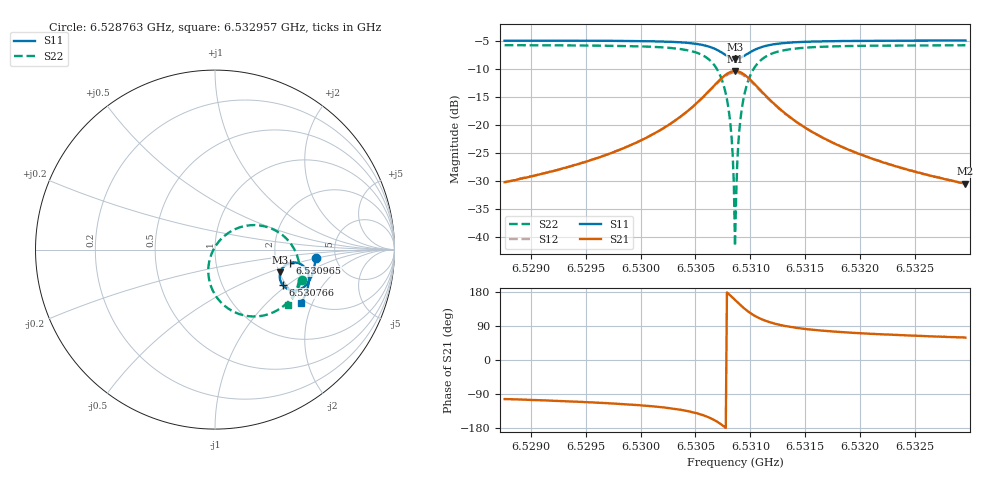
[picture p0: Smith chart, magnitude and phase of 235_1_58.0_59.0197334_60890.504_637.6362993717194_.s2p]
#  HZ  S  RI  R  50.00
! Rohde & Schwarz Vector Network Analyzer
! Rohde-Schwarz,ZNB20-2Port,1311601062101988,3.16
! Created: UTC 3/21/2024, 1:00:49 AM
! freq[Hz]  re:S11  im:S11  re:S21  im:S21  re:S12  im:S12  re:S22  im:S22
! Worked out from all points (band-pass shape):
!   401 points, 6.528763 GHz to 6.532957 GHz, reference 50 ohm
!   highest |S21| = -10.43 dB at 6.53086 GHz (marker M1); lowest = -30.6 dB at 6.532957 GHz (marker M2)
!   |S21| within 3 dB of the highest: 6.530651 GHz to 6.531071 GHz (419.8 kHz wide, 0.00643 % of centre)
!   lowest |S11| = -8.3 dB at 6.53086 GHz (marker M3), VSWR 2.25, Z = 101 - j30.3 ohm
!   |S11| at or under -10 dB: nowhere
!   |S22| runs from -41.7 to -5.8 dB; largest |S21 - S12| = 0.012
!   S11 on the Smith chart (normalised r, x): 6.528763 GHz: 3.49, -0.49; 6.530766 GHz: 1.92, -0.92; 6.530965 GHz: 2.38, -0.43; 6.532957 GHz: 1.89, -1.65
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6.528763e9  0.5602 -0.048  -0.00695 -0.0298  -0.00747 -0.0297  0.4832 -0.1694
6.5294655e9  0.5511 -0.1064  -0.016 -0.0425  -0.017 -0.0421  0.4522 -0.2332
6.5301681e9  0.5241 -0.1761  -0.049 -0.0728  -0.0511 -0.0716  0.3714 -0.3226
6.5304093e9  0.4979 -0.2066  -0.0879 -0.0922  -0.0908 -0.0891  0.292 -0.3618
6.5305875e9  0.4551 -0.2265  -0.155 -0.0987  -0.1572 -0.0923  0.1683 -0.3678
6.5306924e9  0.4109 -0.2221  -0.2231 -0.0729  -0.2225 -0.0634  0.0533 -0.3128
6.5307658e9  0.3762 -0.1957  -0.2737 -0.0156  -0.2681 -0.00566  -0.0213 -0.2073
6.5308077e9  0.3631 -0.1685  -0.2892 0.0364  -0.2807 0.0444  -0.0374 -0.1186
6.5308287e9  0.3607 -0.1525  -0.29 0.0657  -0.2802 0.0722  -0.0329 -0.0703
6.5308392e9  0.3608 -0.1442  -0.2882 0.0807  -0.2778 0.0863  -0.0271 -0.046
6.5308497e9  0.3617 -0.1358  -0.2848 0.0957  -0.2742 0.1002  -0.0188 -0.0225
6.5308602e9  0.3636 -0.1275  -0.28 0.1102  -0.2692 0.1139  -0.00819 0.000439
6.5308707e9  0.3663 -0.1196  -0.2736 0.1242  -0.263 0.127  0.00456 0.0221
6.5308811e9  0.37 -0.112  -0.2662 0.1375  -0.2555 0.1393  0.0194 0.0425
6.5308916e9  0.3743 -0.105  -0.2572 0.1498  -0.2469 0.1508  0.0359 0.061
6.5309126e9  0.3847 -0.0926  -0.2368 0.1712  -0.2272 0.1706  0.0732 0.0921
6.530965e9  0.4171 -0.0741  -0.1779 0.2028  -0.171 0.2001  0.1761 0.1333
6.5310384e9  0.4593 -0.0736  -0.1039 0.2053  -0.1003 0.2023  0.3 0.1226
6.5311433e9  0.4963 -0.0953  -0.0401 0.1751  -0.0384 0.1735  0.4027 0.0563
6.5315627e9  0.5231 -0.1743  0.015 0.0847  0.0161 0.0844  0.4725 -0.1332
6.5322653e9  0.505 -0.2461  0.0172 0.0406  0.0181 0.0403  0.4434 -0.2481
6.5329574e9  0.479 -0.298  0.0152 0.0254  0.0157 0.0253  0.4082 -0.308
